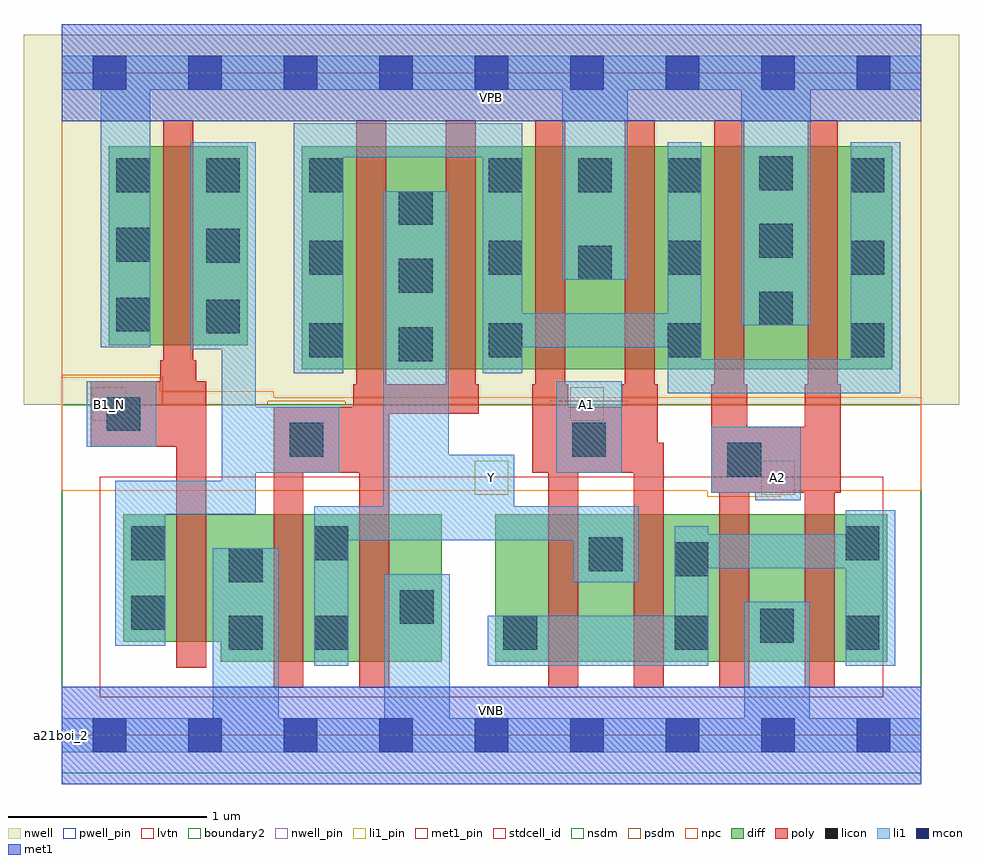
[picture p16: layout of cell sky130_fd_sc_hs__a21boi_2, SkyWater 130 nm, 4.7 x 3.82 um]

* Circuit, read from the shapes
.subckt sky130_fd_sc_hs__a21boi_2 A1 A2 B1_N VGND VNB VPB VPWR Y
XM1 VGND B1_N n1 VNB sky130_fd_pr__nfet_01v8_lvt w=0.64 l=0.15
XM2 Y n1 VGND VNB sky130_fd_pr__nfet_01v8_lvt w=0.74 l=0.15 m=2
XM3 Y A1 n2 VNB sky130_fd_pr__nfet_01v8_lvt w=0.74 l=0.15 m=2
XM4 VGND A2 n2 VNB sky130_fd_pr__nfet_01v8_lvt w=0.74 l=0.15 m=2
XM5 n1 B1_N VPWR VPB sky130_fd_pr__pfet_01v8 w=1 l=0.15
XM6 Y n1 n3 VPB sky130_fd_pr__pfet_01v8 w=1.12 l=0.15 m=2
XM7 VPWR A1 n3 VPB sky130_fd_pr__pfet_01v8 w=1.12 l=0.15 m=2
XM8 VPWR A2 n3 VPB sky130_fd_pr__pfet_01v8 w=1.12 l=0.15 m=2
.ends

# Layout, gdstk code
import gdstk
lib = gdstk.Library(unit=1e-6, precision=1e-09)
def R(c, l, rs):  # rectangles x0, y0, x1, y1
    for r in rs: c.add(gdstk.rectangle(r[:2], r[2:], *l))
def A(c, l, x, y, w, h, nx, ny, dx, dy):  # array of equal rectangles
    R(c, l, [(x+i*dx, y+j*dy, x+i*dx+w, y+j*dy+h) for i in range(nx) for j in range(ny)])
def P(c, l, *ps):  # polygons
    for p in ps: c.add(gdstk.Polygon(p, *l))
nwell_pin = (64, 16)
nwell = (64, 20)
diff = (65, 20)
poly = (66, 20)
licon = (66, 44)
li1_pin = (67, 16)
li1 = (67, 20)
mcon = (67, 44)
met1_pin = (68, 16)
met1 = (68, 20)
stdcell_id = (81, 4)
nsdm = (93, 44)
psdm = (94, 20)
npc = (95, 20)
pwell_pin = (122, 16)
lvtn = (125, 44)
boundary2 = (236, 0)

sky130_fd_sc_hs__a21boi_ = lib.new_cell('sky130_fd_sc_hs__a21boi_2')
R(sky130_fd_sc_hs__a21boi_, nwell_pin, [(0,3.085,4.32,3.33)])
R(sky130_fd_sc_hs__a21boi_, nwell, [(-0.19,1.66,4.51,3.52)])
R(sky130_fd_sc_hs__a21boi_, diff, [(2.18,0.37,4.15,1.11), (1.205,1.84,4.175,2.96), (0.235,1.96,0.935,2.96)])
P(sky130_fd_sc_hs__a21boi_, diff, [(1.91,1.11),(0.31,1.11),(0.31,0.47),(0.8,0.47),(0.8,0.37),(1.91,0.37)])
P(sky130_fd_sc_hs__a21boi_, poly, [(3.915,1.765),(3.9,1.765),(3.9,3.09),(3.75,3.09),(3.75,1.765),(3.735,1.765),(3.735,1.55),(3.445,1.55),(3.445,1.765),(3.43,1.765),(3.43,3.09),(3.28,3.09),(3.28,1.765),(3.265,1.765),(3.265,1.22),(3.305,1.22),(3.305,0.24),(3.455,0.24),(3.455,1.22),(3.735,1.22),(3.735,0.24),(3.885,0.24),(3.885,1.22),(3.915,1.22)],
  [(3.025,1.47),(2.995,1.47),(2.995,1.765),(2.98,1.765),(2.98,3.09),(2.83,3.09),(2.83,1.765),(2.815,1.765),(2.815,1.65),(2.545,1.65),(2.545,1.765),(2.53,1.765),(2.53,3.09),(2.38,3.09),(2.38,1.765),(2.365,1.765),(2.365,1.32),(2.445,1.32),(2.445,0.24),(2.595,0.24),(2.595,1.32),(2.875,1.32),(2.875,0.24),(3.025,0.24)],
  [(2.095,1.765),(2.08,1.765),(2.08,3.09),(1.93,3.09),(1.93,1.765),(1.63,1.765),(1.63,3.09),(1.48,3.09),(1.48,1.765),(1.465,1.765),(1.465,1.65),(1.065,1.65),(1.065,0.24),(1.215,0.24),(1.215,1.32),(1.495,1.32),(1.495,0.24),(1.645,0.24),(1.645,1.615),(2.095,1.615)],
  [(0.725,1.78),(0.675,1.78),(0.675,1.885),(0.66,1.885),(0.66,3.09),(0.51,3.09),(0.51,1.885),(0.495,1.885),(0.495,1.78),(0.145,1.78),(0.145,1.45),(0.575,1.45),(0.575,0.34),(0.725,0.34)])
A(sky130_fd_sc_hs__a21boi_, licon, 2.22, 0.43, 0.17, 0.17, 3, 1, 0.86, 0)
A(sky130_fd_sc_hs__a21boi_, licon, 1.245, 1.9, 0.17, 0.17, 3, 2, 0.9, 0.415)
A(sky130_fd_sc_hs__a21boi_, licon, 3.965, 1.9, 0.17, 0.17, 1, 3, 0, 0.415)
A(sky130_fd_sc_hs__a21boi_, licon, 0.725, 2.02, 0.17, 0.17, 1, 3, 0, 0.355)
A(sky130_fd_sc_hs__a21boi_, licon, 0.275, 2.03, 0.17, 0.17, 1, 3, 0, 0.35)
A(sky130_fd_sc_hs__a21boi_, licon, 3.505, 2.06, 0.17, 0.17, 1, 3, 0, 0.34)
A(sky130_fd_sc_hs__a21boi_, licon, 2.145, 2.73, 0.17, 0.17, 3, 1, 0.45, 0)
R(sky130_fd_sc_hs__a21boi_, licon, [(0.84,0.43,1.01,0.6), (1.27,0.43,1.44,0.6), (3.51,0.465,3.68,0.635), (0.35,0.53,0.52,0.7), (1.7,0.56,1.87,0.73), (0.84,0.77,1.01,0.94), (3.08,0.8,3.25,0.97), (2.65,0.825,2.82,0.995), (0.35,0.88,0.52,1.05), (1.27,0.88,1.44,1.05), (3.94,0.88,4.11,1.05), (3.345,1.3,3.515,1.47), (1.145,1.4,1.315,1.57), (2.565,1.4,2.735,1.57), (0.225,1.53,0.395,1.7), (1.695,1.88,1.865,2.05), (1.695,2.225,1.865,2.395), (2.595,2.29,2.765,2.46), (1.695,2.565,1.865,2.735), (1.245,2.73,1.415,2.9)])
R(sky130_fd_sc_hs__a21boi_, li1_pin, [(2.075,1.21,2.245,1.38), (3.515,1.21,3.685,1.38), (0.155,1.58,0.325,1.75), (2.555,1.58,2.725,1.75)])
R(sky130_fd_sc_hs__a21boi_, li1, [(2.485,1.32,2.815,1.78), (0.125,1.45,0.475,1.78)])
P(sky130_fd_sc_hs__a21boi_, li1, [(0.195,1.95),(0.195,3.245),(0,3.245),(0,3.415),(4.32,3.415),(4.32,3.245),(3.765,3.245),(3.765,2.06),(3.415,2.06),(3.415,3.245),(2.845,3.245),(2.845,2.29),(2.515,2.29),(2.515,3.245),(0.445,3.245),(0.445,1.95)],
  [(1.62,0.085),(1.62,0.81),(1.95,0.81),(1.95,0.085),(3.43,0.085),(3.43,0.67),(3.76,0.67),(3.76,0.085),(4.32,0.085),(4.32,-0.085),(0,-0.085),(0,0.085),(0.76,0.085),(0.76,0.94),(1.09,0.94),(1.09,0.085)],
  [(2.275,1.15),(2.9,1.15),(2.9,0.77),(2.57,0.77),(2.57,0.98),(1.44,0.98),(1.44,0.35),(1.27,0.35),(1.27,1.15),(1.615,1.15),(1.615,2.735),(1.945,2.735),(1.945,1.41),(2.275,1.41)],
  [(0.805,1.28),(0.805,1.94),(0.645,1.94),(0.645,2.98),(0.975,2.98),(0.975,1.65),(1.395,1.65),(1.395,1.32),(0.975,1.32),(0.975,1.11),(0.52,1.11),(0.52,0.45),(0.27,0.45),(0.27,1.28)],
  [(2.115,1.82),(2.115,2.905),(1.415,2.905),(1.415,1.82),(1.165,1.82),(1.165,3.075),(2.315,3.075),(2.315,2.12),(3.045,2.12),(3.045,2.98),(3.215,2.98),(3.215,1.89),(3.965,1.89),(3.965,2.98),(4.215,2.98),(4.215,1.72),(3.045,1.72),(3.045,1.95),(2.315,1.95),(2.315,1.82)],
  [(3.08,0.6),(3.08,1.05),(3.25,1.05),(3.25,1.01),(3.94,1.01),(3.94,1.13),(4.19,1.13),(4.19,0.35),(3.94,0.35),(3.94,0.84),(3.25,0.84),(3.25,0.35),(2.14,0.35),(2.14,0.6)],
  [(3.265,1.22),(3.265,1.55),(3.715,1.55),(3.715,1.18),(3.485,1.18),(3.485,1.22)])
A(sky130_fd_sc_hs__a21boi_, mcon, 0.155, -0.085, 0.17, 0.17, 9, 2, 0.48, 3.33)
R(sky130_fd_sc_hs__a21boi_, met1_pin, [(0,0,4.32,0.245), (0,3.085,4.32,3.33)])
R(sky130_fd_sc_hs__a21boi_, met1, [(0,-0.245,4.32,0.245), (0,3.085,4.32,3.575)])
R(sky130_fd_sc_hs__a21boi_, stdcell_id, [(0,0,4.32,3.33)])
R(sky130_fd_sc_hs__a21boi_, nsdm, [(0,-0.19,4.32,1.66)])
P(sky130_fd_sc_hs__a21boi_, psdm, [(4.32,3.52),(0,3.52),(0,1.81),(0.505,1.81),(0.505,1.66),(1.035,1.66),(1.035,1.68),(1.425,1.68),(1.425,1.66),(2.455,1.66),(2.455,1.68),(2.845,1.68),(2.845,1.66),(4.32,1.66)])
P(sky130_fd_sc_hs__a21boi_, npc, [(4.32,1.7),(1.065,1.7),(1.065,1.73),(0.495,1.73),(0.495,1.8),(0,1.8),(0,1.23),(3.245,1.23),(3.245,1.2),(3.615,1.2),(3.615,1.23),(4.32,1.23)])
R(sky130_fd_sc_hs__a21boi_, pwell_pin, [(0,0,4.32,0.245)])
R(sky130_fd_sc_hs__a21boi_, lvtn, [(0.19,0.19,4.13,1.3)])
R(sky130_fd_sc_hs__a21boi_, boundary2, [(0,0,4.32,3.33)])
sky130_fd_sc_hs__a21boi_.add(gdstk.Label('a21boi_2', (0,0), layer=83, texttype=44))
sky130_fd_sc_hs__a21boi_.add(gdstk.Label('VNB', (2.16,0.123), layer=64, texttype=59))
sky130_fd_sc_hs__a21boi_.add(gdstk.Label('VPB', (2.16,3.208), layer=64, texttype=5))
sky130_fd_sc_hs__a21boi_.add(gdstk.Label('VPWR', (2.16,3.208), layer=68, texttype=5))
sky130_fd_sc_hs__a21boi_.add(gdstk.Label('VGND', (2.16,0.123), layer=68, texttype=5))
sky130_fd_sc_hs__a21boi_.add(gdstk.Label('B1_N', (0.24,1.665), layer=67, texttype=5))
sky130_fd_sc_hs__a21boi_.add(gdstk.Label('Y', (2.16,1.295), layer=67, texttype=5))
sky130_fd_sc_hs__a21boi_.add(gdstk.Label('A2', (3.6,1.295), layer=67, texttype=5))
sky130_fd_sc_hs__a21boi_.add(gdstk.Label('A1', (2.64,1.665), layer=67, texttype=5))

lib.write_gds('sky130_fd_sc_hs__a21boi_2.gds')
